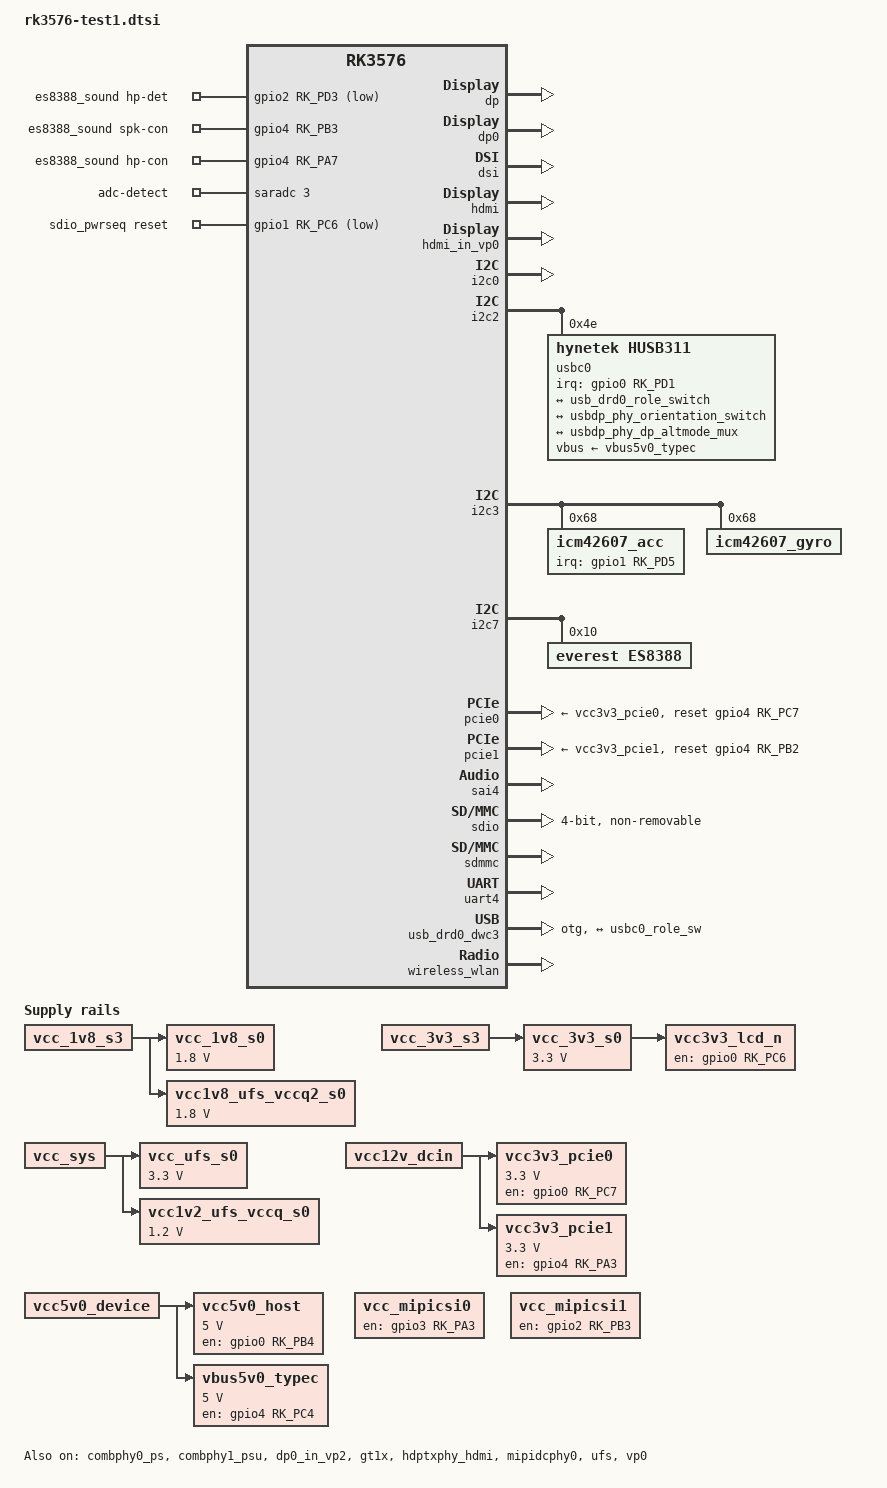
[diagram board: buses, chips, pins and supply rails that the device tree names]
// SPDX-License-Identifier: (GPL-2.0+ OR MIT)
/*
 * Copyright (c) 2024 Rockchip Electronics Co., Ltd.
 *
 */

#include <dt-bindings/mfd/rockchip-flexbus.h>
#include <dt-bindings/usb/pd.h>
#include "rk3576-evb.dtsi"
#include "rk3576-rk806.dtsi"

/ {
	es8388_sound: es8388-sound {
		status = "okay";
		compatible = "rockchip,multicodecs-card";
		rockchip,card-name = "rockchip-es8388";
		hp-det-gpio = <&gpio2 RK_PD3 GPIO_ACTIVE_LOW>;
		io-channels = <&saradc 3>;
		io-channel-names = "adc-detect";
		keyup-threshold-microvolt = <1800000>;
		poll-interval = <100>;
		spk-con-gpio = <&gpio4 RK_PB3 GPIO_ACTIVE_HIGH>;
		hp-con-gpio = <&gpio4 RK_PA7 GPIO_ACTIVE_HIGH>;
		rockchip,pre-power-on-delay-ms = <30>;
		rockchip,post-power-down-delay-ms = <40>;
		rockchip,format = "i2s";
		rockchip,mclk-fs = <256>;
		rockchip,cpu = <&sai4>;
		rockchip,codec = <&es8388>;
		rockchip,audio-routing =
			"Headphone", "LOUT1",
			"Headphone", "ROUT1",
			"Speaker", "LOUT2",
			"Speaker", "ROUT2",
			"Headphone", "Headphone Power",
			"Headphone", "Headphone Power",
			"Speaker", "Speaker Power",
			"Speaker", "Speaker Power",
			"LINPUT1", "Main Mic",
			"LINPUT2", "Main Mic",
			"RINPUT1", "Headset Mic",
			"RINPUT2", "Headset Mic";
		pinctrl-names = "default";
		pinctrl-0 = <&hp_det>;
		play-pause-key {
			label = "playpause";
			linux,code = <KEY_PLAYPAUSE>;
			press-threshold-microvolt = <2000>;
		};
	};

	vcc_1v8_s0: vcc-1v8-s0 {
		compatible = "regulator-fixed";
		regulator-name = "vcc_1v8_s0";
		regulator-boot-on;
		regulator-always-on;
		regulator-min-microvolt = <1800000>;
		regulator-max-microvolt = <1800000>;
		vin-supply = <&vcc_1v8_s3>;
	};

	vcc_3v3_s0: vcc-3v3-s0 {
		compatible = "regulator-fixed";
		regulator-name = "vcc_3v3_s0";
		regulator-boot-on;
		regulator-always-on;
		regulator-min-microvolt = <3300000>;
		regulator-max-microvolt = <3300000>;
		vin-supply = <&vcc_3v3_s3>;
	};

	vcc_ufs_s0: vcc-ufs-s0 {
		compatible = "regulator-fixed";
		regulator-name = "vcc_ufs_s0";
		regulator-boot-on;
		regulator-always-on;
		regulator-min-microvolt = <3300000>;
		regulator-max-microvolt = <3300000>;
		vin-supply = <&vcc_sys>;
	};

	vcc1v8_ufs_vccq2_s0: vcc1v8-ufs-vccq2-s0 {
		compatible = "regulator-fixed";
		regulator-name = "vcc1v8_ufs_vccq2_s0";
		regulator-boot-on;
		regulator-always-on;
		regulator-min-microvolt = <1800000>;
		regulator-max-microvolt = <1800000>;
		vin-supply = <&vcc_1v8_s3>;
	};

	vcc1v2_ufs_vccq_s0: vcc1v2-ufs-vccq-s0 {
		compatible = "regulator-fixed";
		regulator-name = "vcc1v2_ufs_vccq_s0";
		regulator-boot-on;
		regulator-always-on;
		regulator-min-microvolt = <1200000>;
		regulator-max-microvolt = <1200000>;
		vin-supply = <&vcc_sys>;
	};

	vcc3v3_lcd_n: vcc3v3-lcd0-n {
		compatible = "regulator-fixed";
		regulator-name = "vcc3v3_lcd0_n";
		regulator-boot-on;
		enable-active-high;
		gpio = <&gpio0 RK_PC6 GPIO_ACTIVE_HIGH>;
		vin-supply = <&vcc_3v3_s0>;
	};

	vcc3v3_pcie0: vcc3v3-pcie0 {
		compatible = "regulator-fixed";
		regulator-name = "vcc3v3_pcie0";
		regulator-min-microvolt = <3300000>;
		regulator-max-microvolt = <3300000>;
		enable-active-high;
		gpios = <&gpio0 RK_PC7 GPIO_ACTIVE_HIGH>;
		startup-delay-us = <5000>;
		vin-supply = <&vcc12v_dcin>;
	};

	vcc3v3_pcie1: vcc3v3-pcie1 {
		compatible = "regulator-fixed";
		regulator-name = "vcc3v3_pcie1";
		regulator-min-microvolt = <3300000>;
		regulator-max-microvolt = <3300000>;
		enable-active-high;
		gpios = <&gpio4 RK_PA3 GPIO_ACTIVE_HIGH>;
		startup-delay-us = <5000>;
		vin-supply = <&vcc12v_dcin>;
	};

	vcc5v0_host: vcc5v0-host {
		compatible = "regulator-fixed";
		regulator-name = "vcc5v0_host";
		regulator-boot-on;
		regulator-always-on;
		regulator-min-microvolt = <5000000>;
		regulator-max-microvolt = <5000000>;
		enable-active-high;
		gpio = <&gpio0 RK_PB4 GPIO_ACTIVE_HIGH>;
		vin-supply = <&vcc5v0_device>;
		pinctrl-names = "default";
		pinctrl-0 = <&usb_host_pwren>;
	};

	vbus5v0_typec: vbus5v0-typec {
		compatible = "regulator-fixed";
		regulator-name = "vbus5v0_typec";
		regulator-min-microvolt = <5000000>;
		regulator-max-microvolt = <5000000>;
		enable-active-high;
		gpio = <&gpio4 RK_PC4 GPIO_ACTIVE_HIGH>;
		vin-supply = <&vcc5v0_device>;
		pinctrl-names = "default";
		pinctrl-0 = <&usb_otg0_pwren>;
	};

	sdio_pwrseq: sdio-pwrseq {
		compatible = "mmc-pwrseq-simple";
		pinctrl-names = "default";
		pinctrl-0 = <&wifi_poweren_gpio>;

		/*
		 * On the module itself this is one of these (depending
		 * on the actual card populated):
		 * - SDIO_RESET_L_WL_REG_ON
		 * - PDN (power down when low)
		 */
		post-power-on-delay-ms = <200>;
		reset-gpios = <&gpio1 RK_PC6 GPIO_ACTIVE_LOW>;
	};

	vcc_mipicsi0: vcc-mipicsi0-regulator {
		compatible = "regulator-fixed";
		gpio = <&gpio3 RK_PA3 GPIO_ACTIVE_HIGH>;
		pinctrl-names = "default";
		pinctrl-0 = <&mipicsi0_pwr>;
		regulator-name = "vcc_mipicsi0";
		enable-active-high;
	};

	vcc_mipicsi1: vcc-mipicsi1-regulator {
		compatible = "regulator-fixed";
		gpio = <&gpio2 RK_PB3 GPIO_ACTIVE_HIGH>;
		pinctrl-names = "default";
		pinctrl-0 = <&mipicsi1_pwr>;
		regulator-name = "vcc_mipicsi1";
		enable-active-high;
	};
};

&combphy0_ps {
	status = "okay";
};

&combphy1_psu {
	status = "okay";
};

&dp {
	status = "okay";
};

&dp0 {
	status = "okay";
};

&dp0_in_vp2 {
	status = "okay";
};

/*
 * mipidcphy0 needs to be enabled
 * when dsi is enabled
 */
&dsi {
	status = "okay";
};

&dsi_panel {
	power-supply = <&vcc3v3_lcd_n>;
};

&flexbus {
	rockchip,flexbus0-opmode = <ROCKCHIP_FLEXBUS0_OPMODE_DAC>;
	rockchip,flexbus1-opmode = <ROCKCHIP_FLEXBUS1_OPMODE_ADC>;
	status = "disabled";
};

&flexbus_adc {
	pinctrl-names = "default";
	pinctrl-0 = <&flexbus1m4_csn &flexbus1_clk
		     &flexbus1_d0 &flexbus1_d1 &flexbus1_d2 &flexbus1_d3
		     &flexbus1_d4 &flexbus1_d5 &flexbus1_d6 &flexbus1_d7
		     &flexbus1_d8 &flexbus1_d9 &flexbus1_d10 &flexbus1_d11
		     &flexbus1m1_d12 &flexbus1m1_d13 &flexbus1m1_d14 &flexbus1m1_d15>;
	status = "disabled";
};

&flexbus_dac {
	pinctrl-names = "default";
	pinctrl-0 = <&flexbus0m4_csn &flexbus0_clk
		     &flexbus0_d0 &flexbus0_d1 &flexbus0_d2 &flexbus0_d3
		     &flexbus0_d4 &flexbus0_d5 &flexbus0_d6 &flexbus0_d7
		     &flexbus0_d8 &flexbus0_d9 &flexbus0_d10 &flexbus0_d11
		     &flexbus0_d12 &flexbus0m0_d13 &flexbus0m0_d14 &flexbus0m0_d15>;
	status = "disabled";
};

&flexbus_fspi {
	pinctrl-names = "default";
	pinctrl-0 = <&flexbus0m4_csn &flexbus0_clk
		     &flexbus0_d0 &flexbus0_d1
		     &flexbus0_d2 &flexbus0_d3>;
	status = "disabled";

	flash@0 {
		compatible = "jedec,spi-nor";
		reg = <0>;
		spi-max-frequency = <100000000>;
		spi-rx-bus-width = <4>;
		spi-tx-bus-width = <1>;
	};
};

&gt1x {
	status = "okay";
	power-supply = <&vcc3v3_lcd_n>;
};

&hdmi {
	status = "okay";
};

&hdmi_in_vp0 {
	status = "okay";
};

&hdptxphy_hdmi {
	status = "okay";
};

&i2c0 {
	status = "okay";

	pinctrl-names = "default";
	pinctrl-0 = <&i2c0m1_xfer>;

	sy7636a_pmic: sy7636a@62 {
		compatible = "silergy,sy7636a-pmic";
		reg = <0x62>;
		status = "disabled";

		pinctrl-names = "default";
		pinctrl-0 = <&sy7636a_default>;

		enable-gpios = <&gpio4 RK_PB2 GPIO_ACTIVE_HIGH>, <&gpio3 RK_PB2 GPIO_ACTIVE_HIGH>;

		thermal-zone = "ebcpmic-thermal";
		#thermal-sensor-cells = <0>;

		regulators {
			compatible = "sy7636a-regulator";
			reg_ebcpmic: vcom {
				regulator-name = "vcom";
				regulator-min-microvolt = <0>;
				regulator-max-microvolt = <5000000>;
				regulator-boot-on;
				regulator-state-mem {
					regulator-off-in-suspend;
				};
			};
		};

		sy7636a_thermal: sy7636a_thermal {
			compatible = "sy7636a-thermal";
		};

	};
};

&i2c2 {
	status = "okay";

	usbc0: husb311@4e {
		compatible = "hynetek,husb311";
		reg = <0x4e>;
		interrupt-parent = <&gpio0>;
		interrupts = <RK_PD1 IRQ_TYPE_LEVEL_LOW>;
		pinctrl-names = "default";
		pinctrl-0 = <&usbc0_int>;
		vbus-supply = <&vbus5v0_typec>;
		status = "okay";

		port {
			usbc0_role_sw: endpoint {
				remote-endpoint = <&usb_drd0_role_switch>;
			};
		};

		usb_con: connector {
			compatible = "usb-c-connector";
			label = "USB-C";
			data-role = "dual";
			power-role = "dual";
			try-power-role = "sink";
			op-sink-microwatt = <1000000>;
			sink-pdos =
				<PDO_FIXED(5000, 1000, PDO_FIXED_USB_COMM)>;
			source-pdos =
				<PDO_FIXED(5000, 3000, PDO_FIXED_USB_COMM)>;

			altmodes {
				#address-cells = <1>;
				#size-cells = <0>;

				altmode@0 {
					reg = <0>;
					svid = <0xff01>;
					vdo = <0xffffffff>;
				};
			};

			ports {
				#address-cells = <1>;
				#size-cells = <0>;

				port@0 {
					reg = <0>;
					usbc0_orien_sw: endpoint {
						remote-endpoint = <&usbdp_phy_orientation_switch>;
					};
				};

				port@1 {
					reg = <1>;
					dp_altmode_mux: endpoint {
						remote-endpoint = <&usbdp_phy_dp_altmode_mux>;
					};
				};
			};
		};
	};
};

&i2c3 {
	status = "okay";

	icm42607_acc: icm_acc@68 {
		status = "okay";
		compatible = "icm42607_acc";
		reg = <0x68>;
		irq-gpio = <&gpio1 RK_PD5 IRQ_TYPE_EDGE_RISING>;
		irq_enable = <0>;
		poll_delay_ms = <30>;
		type = <SENSOR_TYPE_ACCEL>;
		layout = <0>;
	};

	icm42607_gyro: icm_gyro@68 {
		status = "okay";
		compatible = "icm42607_gyro";
		reg = <0x68>;
		poll_delay_ms = <30>;
		type = <SENSOR_TYPE_GYROSCOPE>;
		layout = <0>;
	};
};

&i2c7 {
	status = "okay";
	pinctrl-names = "default";
	pinctrl-0 = <&i2c7m1_xfer>;

	es8388: es8388@10 {
		status = "okay";
		#sound-dai-cells = <0>;
		compatible = "everest,es8388", "everest,es8323";
		reg = <0x10>;
		clocks = <&mclkout_sai4>;
		clock-names = "mclk";
		assigned-clocks = <&mclkout_sai4>;
		assigned-clock-rates = <12288000>;
		pinctrl-names = "default";
		pinctrl-0 = <&sai4m3_mclk>;
	};
};

&mipidcphy0 {
	status = "okay";
};

&pcie0 {
	reset-gpios = <&gpio4 RK_PC7 GPIO_ACTIVE_HIGH>;
	vpcie3v3-supply = <&vcc3v3_pcie0>;
	status = "okay";
};

&pcie1 {
	reset-gpios = <&gpio4 RK_PB2 GPIO_ACTIVE_HIGH>;
	vpcie3v3-supply = <&vcc3v3_pcie1>;
	status = "okay";
};

&pinctrl {
	cam {
		mipicsi0_pwr: mipicsi0-pwr {
			rockchip,pins =
				/* camera power en */
				<3 RK_PA3 RK_FUNC_GPIO &pcfg_pull_none>;
		};

		mipicsi1_pwr: mipicsi1-pwr {
			rockchip,pins =
				/* camera power en */
				<2 RK_PB3 RK_FUNC_GPIO &pcfg_pull_none>;
		};
	};

	headphone {
		hp_det: hp-det {
			rockchip,pins = <2 RK_PD3 RK_FUNC_GPIO &pcfg_pull_up>;
		};
	};

	sy7636a {
		sy7636a_default: sy7636a_default {
			rockchip,pins =
				/* EN/EBC_PMIC_ON */
				<4 RK_PB2 RK_FUNC_GPIO &pcfg_pull_none>,
				/* VCC_EINK_PWREN */
				<3 RK_PB2 RK_FUNC_GPIO &pcfg_pull_none>;
		};
	};

	usb {
		usb_host_pwren: usb-host-pwren {
			rockchip,pins = <0 RK_PB4 RK_FUNC_GPIO &pcfg_pull_none>;
		};

		usb_otg0_pwren: usb-otg0-pwren {
			rockchip,pins = <4 RK_PC4 RK_FUNC_GPIO &pcfg_pull_none>;
		};

		usbc0_int: usbc0-int {
			rockchip,pins = <0 RK_PD1 RK_FUNC_GPIO &pcfg_pull_up>;
		};
	};

	wireless-bluetooth {
		uart4_gpios: uart4-gpios {
			rockchip,pins = <1 RK_PC2 RK_FUNC_GPIO &pcfg_pull_none>;
		};
	};

	wireless-wlan {
		wifi_host_wake_irq: wifi-host-wake-irq {
			rockchip,pins = <0 RK_PB0 RK_FUNC_GPIO &pcfg_pull_down>;
		};

		wifi_poweren_gpio: wifi-poweren-gpio {
			rockchip,pins = <1 RK_PC6 RK_FUNC_GPIO &pcfg_pull_none>;
		};
	};
};

&route_hdmi {
	status = "disabled";
	connect = <&vp0_out_hdmi>;
};

&sai4 {
	status = "okay";
	pinctrl-names = "default";
	pinctrl-0 = <&sai4m3_lrck
		     &sai4m3_sclk
		     &sai4m3_sdi
		     &sai4m3_sdo>;
};

&sdio {
	max-frequency = <200000000>;
	no-sd;
	no-mmc;
	bus-width = <4>;
	disable-wp;
	cap-sd-highspeed;
	cap-sdio-irq;
	keep-power-in-suspend;
	mmc-pwrseq = <&sdio_pwrseq>;
	non-removable;
	pinctrl-names = "default";
	pinctrl-0 = <&sdmmc1m0_bus4 &sdmmc1m0_clk &sdmmc1m0_cmd>;
	sd-uhs-sdr104;
	status = "okay";
};

&sdmmc {
	status = "okay";
};

&u2phy0_otg {
	rockchip,typec-vbus-det;
};

&u2phy1_otg {
	phy-supply = <&vcc5v0_host>;
};

&uart4 {
	status = "okay";
	pinctrl-names = "default";
	pinctrl-0 = <&uart4m1_xfer &uart4m1_ctsn>;
};

&ufs {
	vcc-supply = <&vcc_ufs_s0>;
	vccq-supply = <&vcc1v2_ufs_vccq_s0>;
	vccq2-supply = <&vcc1v8_ufs_vccq2_s0>;
	status = "okay";
};

&usbdp_phy {
	orientation-switch;
	svid = <0xff01>;
	sbu1-dc-gpios = <&gpio4 RK_PA2 GPIO_ACTIVE_HIGH>;
	sbu2-dc-gpios = <&gpio4 RK_PA4 GPIO_ACTIVE_HIGH>;

	port {
		#address-cells = <1>;
		#size-cells = <0>;

		usbdp_phy_orientation_switch: endpoint@0 {
			reg = <0>;
			remote-endpoint = <&usbc0_orien_sw>;
		};

		usbdp_phy_dp_altmode_mux: endpoint@1 {
			reg = <1>;
			remote-endpoint = <&dp_altmode_mux>;
		};
	};
};

&usb_drd0_dwc3 {
	dr_mode = "otg";
	usb-role-switch;
	port {
		usb_drd0_role_switch: endpoint {
			remote-endpoint = <&usbc0_role_sw>;
		};
	};
};

&vp0 {
	status = "okay";
};

&wireless_wlan {
	wifi_chip_type = "ap6275s";
};

&work_led {
	gpio = <&gpio2 RK_PC2 GPIO_ACTIVE_HIGH>;
};
